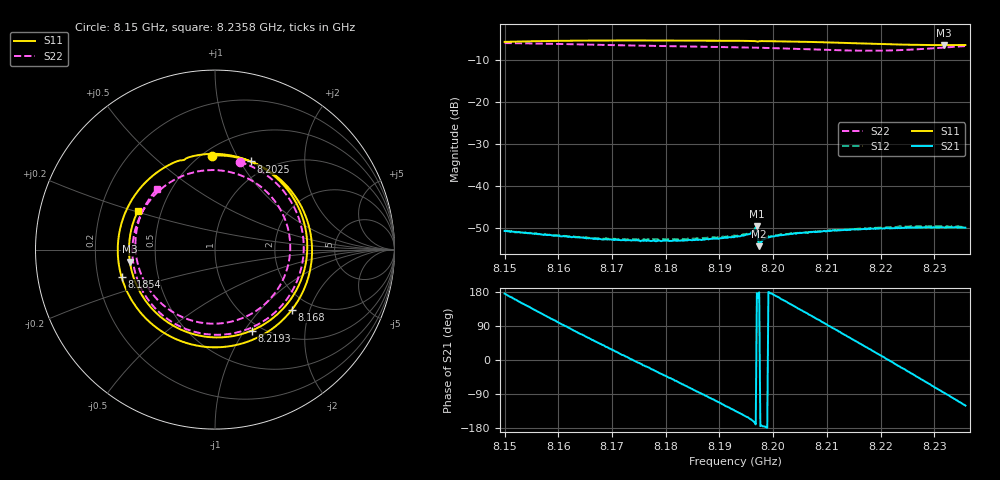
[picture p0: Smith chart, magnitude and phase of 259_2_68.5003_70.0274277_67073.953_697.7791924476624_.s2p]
#  HZ  S  RI  R  50.00
! Rohde & Schwarz Vector Network Analyzer
! Rohde-Schwarz,ZNB20-2Port,1311601062101988,3.16
! Created: UTC 3/20/2024, 5:00:10 PM
! freq[Hz]  re:S11  im:S11  re:S21  im:S21  re:S12  im:S12  re:S22  im:S22
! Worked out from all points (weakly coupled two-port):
!   401 points, 8.15 GHz to 8.2358 GHz, reference 50 ohm
!   highest |S21| = -49.49 dB at 8.197 GHz (marker M1); lowest = -54.2 dB at 8.1974 GHz (marker M2)
!   lowest |S11| = -6.4 dB at 8.2317 GHz (marker M3), VSWR 2.84, Z = 17.7 - j3.13 ohm
!   |S11| at or under -10 dB: nowhere
!   |S22| runs from -7.7 to -5.9 dB; largest |S21 - S12| = 0.00026
!   S11 on the Smith chart (normalised r, x): 8.15 GHz: 0.56, +0.80; 8.168 GHz: 1.61, -1.53; 8.1854 GHz: 0.30, -0.13; 8.2025 GHz: 0.81, +1.11; 8.2193 GHz: 0.90, -1.08; 8.2358 GHz: 0.37, +0.21
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8.149991e9  -0.0153 0.5238  -0.00294 0.000249  -0.00294 0.000327  0.1366 0.4883
8.153638e9  0.2251 0.4802  -0.00234 0.00153  -0.00233 0.00154  0.3363 0.3749
8.157499e9  0.4281 0.3222  -0.00124 0.00238  -0.00124 0.00237  0.4666 0.1759
8.160931e9  0.5269 0.116  -0.000111 0.00256  -9.13e-05 0.00257  0.4926 -0.0301
8.164363e9  0.5301 -0.1129  0.00094 0.00227  0.000947 0.00229  0.4329 -0.2254
8.16801e9  0.4287 -0.3345  0.00176 0.00155  0.00178 0.0016  0.2913 -0.3846
8.173587e9  0.1147 -0.5323  0.00226 8.28e-05  0.00232 5.82e-05  -0.0123 -0.4744
8.178736e9  -0.2301 -0.4929  0.00188 -0.00127  0.00191 -0.00129  -0.2818 -0.3739
8.185385e9  -0.5207 -0.1526  0.000399 -0.00226  0.000375 -0.00235  -0.4577 -0.0575
8.189032e9  -0.5321 0.0994  -0.000622 -0.0023  -0.000715 -0.00236  -0.435 0.1424
8.192893e9  -0.4175 0.3417  -0.00176 -0.00181  -0.00186 -0.0018  -0.3192 0.3212
8.19654e9  -0.2103 0.4923  -0.00292 -0.000797  -0.00301 -0.000681  -0.1442 0.4234
8.196969e9  -0.1795 0.498  -0.00335 0.000196  -0.00344 0.000327  -0.1211 0.4297
8.197398e9  -0.1599 0.5086  -0.00194 5.23e-05  -0.00197 0.000106  -0.0977 0.4352
8.202546e9  0.1984 0.4912  -0.00241 0.00121  -0.00234 0.00132  0.1875 0.394
8.207266e9  0.4451 0.2732  -0.00123 0.00258  -0.00116 0.00261  0.3766 0.1998
8.213057e9  0.4939 -0.1269  0.00111 0.0028  0.00122 0.00279  0.3898 -0.142
8.219278e9  0.2045 -0.451  0.00301 0.000968  0.00308 0.00089  0.104 -0.3981
8.221638e9  0.0387 -0.4887  0.00316 -8.19e-05  0.00326 -0.000246  -0.0515 -0.4107
8.227215e9  -0.3293 -0.3515  0.00218 -0.00239  0.00212 -0.00258  -0.3679 -0.2203
8.23172e9  -0.4741 -0.0681  0.00025 -0.00324  5.76e-05 -0.00334  -0.4407 0.0801
8.235796e9  -0.4301 0.2148  -0.00162 -0.00278  -0.00185 -0.00275  -0.3228 0.3376
